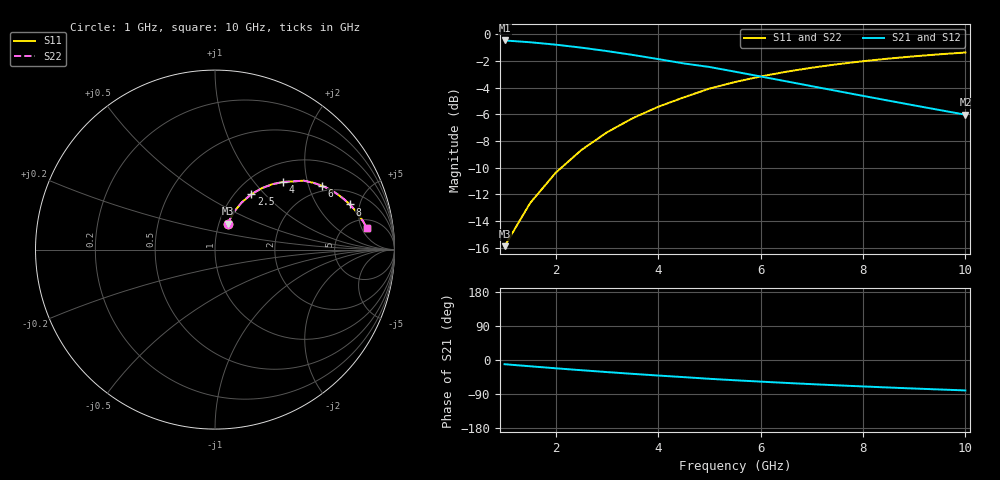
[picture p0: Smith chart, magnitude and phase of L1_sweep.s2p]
# GHz S MA R 50
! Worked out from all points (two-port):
!   19 points, 1 GHz to 10 GHz, reference 50 ohm
!   highest |S21| = -0.47 dB at 1 GHz (marker M1); lowest = -6.0 dB at 10 GHz (marker M2)
!   |S21| within 3 dB of the highest: start of sweep to 6.417 GHz
!   lowest |S11| = -15.9 dB at 1 GHz (marker M3), VSWR 1.38, Z = 55 + j16.3 ohm
!   |S11| at or under -10 dB: start of sweep to 2.109 GHz
!   |S22| runs from -15.9 to -1.4 dB; largest |S21 - S12| = 0
!   S11 on the Smith chart (normalised r, x): 1 GHz: 1.10, +0.33; 2.5 GHz: 1.18, +0.84; 4 GHz: 1.35, +1.43; 6 GHz: 1.79, +2.46; 8 GHz: 2.98, +4.01; 10 GHz: 6.94, +6.27
1  0.1608 64.2  0.9471 -11.1  0.9471 -11.1  0.1608 64.2
1.5  0.2334 63.4  0.9326 -16.6  0.9326 -16.6  0.2334 63.4
2  0.303 60.4  0.9133 -21.9  0.9133 -21.9  0.303 60.4
2.5  0.3684 56.7  0.8902 -27.0  0.8902 -27.0  0.3684 56.7
3  0.429 52.8  0.8642 -31.9  0.8642 -31.9  0.429 52.8
3.5  0.4844 48.8  0.8362 -36.5  0.8362 -36.5  0.4844 48.8
4  0.5346 44.8  0.8068 -41.0  0.8068 -41.0  0.5346 44.8
4.5  0.5799 41.0  0.7769 -45.2  0.7769 -45.2  0.5799 41.0
5  0.6254 37.9  0.7536 -49.6  0.7536 -49.6  0.6254 37.9
5.5  0.6619 34.3  0.7236 -53.4  0.7236 -53.4  0.6619 34.3
6  0.6943 30.8  0.6943 -57.1  0.6943 -57.1  0.6943 30.8
6.5  0.7232 27.5  0.6659 -60.5  0.6659 -60.5  0.7232 27.5
7  0.7488 24.4  0.6386 -63.7  0.6386 -63.7  0.7488 24.4
7.5  0.7716 21.4  0.6124 -66.8  0.6124 -66.8  0.7716 21.4
8  0.7919 18.5  0.5874 -69.8  0.5874 -69.8  0.7919 18.5
8.5  0.81 15.8  0.5637 -72.6  0.5637 -72.6  0.81 15.8
9  0.8262 13.2  0.5411 -75.3  0.5411 -75.3  0.8262 13.2
9.5  0.8407 10.7  0.5197 -77.8  0.5197 -77.8  0.8407 10.7
10  0.8537 8.2  0.4994 -80.3  0.4994 -80.3  0.8537 8.2
